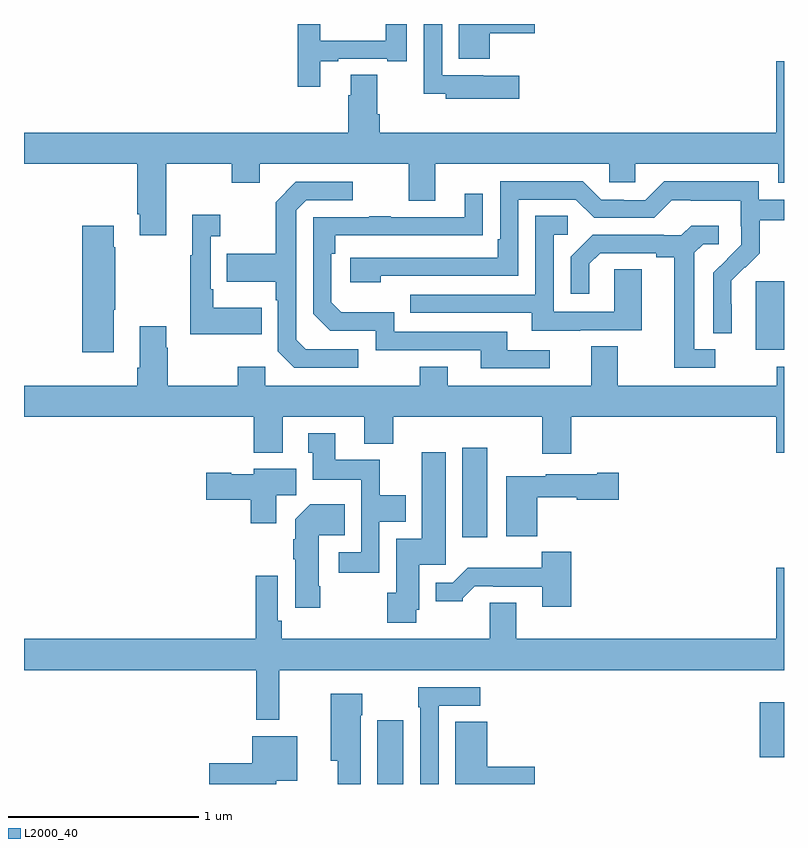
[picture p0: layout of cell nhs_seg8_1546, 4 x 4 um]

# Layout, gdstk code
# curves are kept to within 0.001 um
import gdstk
lib = gdstk.Library(unit=1e-6, precision=1e-09)
def R(c, l, rs):  # rectangles x0, y0, x1, y1
    for r in rs: c.add(gdstk.rectangle(r[:2], r[2:], *l))
def P(c, l, *ps):  # polygons
    for p in ps: c.add(gdstk.Polygon(p, *l))
L2000_40 = (2000, 40)

nhs_seg8_1546 = lib.new_cell('nhs_seg8_1546')
R(nhs_seg8_1546, L2000_40, [(210.86,1115.9,210.997,1116.235), (212.873,1116.041,213,1116.331), (211.307,1117.2,211.438,1117.669), (212.852,1118.186,213,1118.547)])
P(nhs_seg8_1546, L2000_40, [(210.559,1119.705),(210.655,1119.705),(210.655,1119.717),(210.911,1119.717),(210.911,1119.705),(211.015,1119.705),(211.015,1119.9),(210.905,1119.9),(210.905,1119.813),(210.558,1119.813),(210.558,1119.9),(210.442,1119.9),(210.442,1119.57),(210.559,1119.57)],
  [(211.451,1119.851),(211.687,1119.851),(211.687,1119.9),(211.289,1119.9),(211.289,1119.716),(211.451,1119.716)],
  [(211.606,1119.628),(211.416,1119.628),(211.416,1119.63),(211.2,1119.63),(211.2,1119.9),(211.104,1119.9),(211.104,1119.533),(211.221,1119.533),(211.221,1119.506),(211.606,1119.506)],
  [(209.749,1119.164),(210.094,1119.164),(210.094,1119.065),(210.241,1119.065),(210.241,1119.164),(211.025,1119.164),(211.025,1118.97),(211.165,1118.97),(211.165,1119.164),(212.079,1119.164),(212.079,1119.066),(212.217,1119.066),(212.217,1119.164),(212.969,1119.164),(212.969,1119.065),(213,1119.065),(213,1119.703),(212.96,1119.703),(212.96,1119.328),(210.872,1119.328),(210.872,1119.424),(210.859,1119.424),(210.859,1119.632),(210.719,1119.632),(210.719,1119.524),(210.707,1119.524),(210.707,1119.328),(209,1119.328),(209,1119.164),(209.597,1119.164),(209.597,1118.899),(209.609,1118.899),(209.609,1118.787),(209.749,1118.787)],
  [(212.724,1118.426),(212.723,1118.549),(212.793,1118.619),(212.796,1118.616),(212.873,1118.693),(212.873,1118.868),(213,1118.868),(213,1118.976),(212.868,1118.976),(212.868,1119.073),(212.371,1119.073),(212.271,1118.973),(212.156,1118.973),(212.156,1118.976),(212.037,1118.976),(211.941,1119.072),(211.506,1119.072),(211.506,1118.767),(211.493,1118.767),(211.493,1118.67),(210.717,1118.67),(210.717,1118.54),(210.878,1118.54),(210.878,1118.574),(211.602,1118.574),(211.602,1118.976),(211.905,1118.976),(212.001,1118.88),(212.316,1118.88),(212.409,1118.973),(212.509,1118.973),(212.509,1118.969),(212.772,1118.969),(212.772,1118.835),(212.774,1118.835),(212.774,1118.738),(212.628,1118.59),(212.628,1118.272),(212.724,1118.272)],
  [(210.76,1118.187),(210.483,1118.187),(210.432,1118.238),(210.432,1118.919),(210.486,1118.973),(210.73,1118.973),(210.73,1119.069),(210.429,1119.069),(210.324,1118.963),(210.324,1118.691),(210.067,1118.691),(210.067,1118.543),(210.324,1118.543),(210.324,1118.447),(210.336,1118.447),(210.336,1118.178),(210.423,1118.091),(210.76,1118.091)],
  [(211.768,1118.184),(211.543,1118.184),(211.543,1118.28),(210.948,1118.28),(210.948,1118.383),(210.671,1118.383),(210.618,1118.436),(210.618,1118.69),(210.638,1118.69),(210.638,1118.787),(211.415,1118.788),(211.415,1119.007),(211.319,1119.007),(211.319,1118.883),(210.929,1118.883),(210.929,1118.888),(210.817,1118.888),(210.817,1118.883),(210.522,1118.883),(210.522,1118.376),(210.612,1118.286),(210.852,1118.286),(210.852,1118.184),(211.403,1118.184),(211.403,1118.088),(211.768,1118.088)],
  [(210.251,1118.407),(209.995,1118.407),(209.995,1118.503),(209.982,1118.503),(209.982,1118.783),(210.034,1118.783),(210.034,1118.896),(209.885,1118.896),(209.885,1118.683),(209.874,1118.683),(209.874,1118.267),(210.251,1118.267)],
  [(211.927,1118.289),(212.251,1118.289),(212.251,1118.609),(212.106,1118.609),(212.106,1118.385),(211.788,1118.385),(211.788,1118.79),(211.861,1118.79),(211.861,1118.891),(211.692,1118.891),(211.692,1118.475),(211.033,1118.475),(211.033,1118.379),(211.673,1118.379),(211.673,1118.285),(211.927,1118.285)],
  [(212.638,1118.187),(212.527,1118.187),(212.527,1118.695),(212.574,1118.742),(212.656,1118.742),(212.656,1118.839),(212.512,1118.839),(212.46,1118.787),(212.366,1118.787),(212.366,1118.79),(211.994,1118.79),(211.878,1118.674),(211.878,1118.481),(211.975,1118.481),(211.975,1118.637),(212.032,1118.694),(212.327,1118.694),(212.327,1118.672),(212.423,1118.672),(212.423,1118.091),(212.638,1118.091)],
  [(209.473,1118.395),(209.481,1118.395),(209.481,1118.726),(209.473,1118.726),(209.473,1118.839),(209.306,1118.839),(209.306,1118.172),(209.473,1118.172)],
  [(211.88,1117.832),(212.96,1117.832),(212.96,1117.644),(213,1117.644),(213,1118.095),(212.962,1118.095),(212.962,1117.996),(212.125,1117.996),(212.125,1118.204),(211.985,1118.204),(211.985,1117.996),(211.231,1117.996),(211.231,1118.095),(211.084,1118.095),(211.084,1117.996),(210.27,1117.996),(210.27,1118.095),(210.124,1118.095),(210.124,1117.996),(209.757,1117.996),(209.757,1118.195),(209.749,1118.195),(209.749,1118.308),(209.609,1118.308),(209.609,1118.092),(209.597,1118.092),(209.597,1117.996),(209,1117.996),(209,1117.832),(210.209,1117.832),(210.209,1117.643),(210.361,1117.643),(210.361,1117.832),(210.791,1117.832),(210.791,1117.691),(210.944,1117.691),(210.944,1117.832),(211.727,1117.832),(211.727,1117.638),(211.88,1117.638)],
  [(210.87,1117.28),(211.009,1117.28),(211.009,1117.42),(210.873,1117.42),(210.873,1117.606),(210.637,1117.606),(210.637,1117.747),(210.497,1117.747),(210.497,1117.644),(210.521,1117.644),(210.521,1117.502),(210.774,1117.502),(210.774,1117.119),(210.657,1117.119),(210.657,1117.011),(210.87,1117.011)],
  [(211.065,1116.816),(211.081,1116.816),(211.081,1117.053),(211.219,1117.053),(211.219,1117.645),(211.094,1117.645),(211.094,1117.192),(210.959,1117.192),(210.959,1116.906),(210.913,1116.906),(210.913,1116.75),(211.065,1116.75)],
  [(210.328,1117.42),(210.433,1117.42),(210.433,1117.558),(210.21,1117.558),(210.21,1117.531),(210.09,1117.531),(210.09,1117.539),(209.958,1117.539),(209.958,1117.397),(210.194,1117.397),(210.194,1117.272),(210.328,1117.272)],
  [(211.7,1117.409),(211.908,1117.409),(211.908,1117.397),(212.131,1117.397),(212.131,1117.539),(212.018,1117.539),(212.018,1117.531),(211.746,1117.531),(211.746,1117.519),(211.538,1117.519),(211.538,1117.205),(211.7,1117.205)],
  [(210.558,1116.94),(210.55,1116.94),(210.55,1117.208),(210.689,1117.208),(210.689,1117.372),(210.506,1117.372),(210.428,1117.294),(210.428,1117.187),(210.416,1117.187),(210.416,1117.084),(210.428,1117.084),(210.428,1116.828),(210.558,1116.828)],
  [(211.88,1117.123),(211.725,1117.123),(211.725,1117.039),(211.336,1117.039),(211.257,1116.96),(211.166,1116.96),(211.166,1116.863),(211.308,1116.863),(211.308,1116.878),(211.372,1116.942),(211.471,1116.942),(211.471,1116.939),(211.727,1116.939),(211.727,1116.834),(211.88,1116.834)],
  [(210.344,1116.5),(213,1116.5),(213,1117.039),(212.96,1117.039),(212.96,1116.664),(211.591,1116.664),(211.591,1116.854),(211.451,1116.854),(211.451,1116.664),(210.356,1116.664),(210.356,1116.76),(210.336,1116.76),(210.336,1116.997),(210.22,1116.997),(210.22,1116.664),(209,1116.664),(209,1116.5),(210.223,1116.5),(210.223,1116.237),(210.344,1116.237)],
  [(211.182,1116.312),(211.402,1116.312),(211.402,1116.408),(211.074,1116.408),(211.074,1116.305),(211.086,1116.305),(211.086,1115.9),(211.182,1115.9)],
  [(210.772,1116.263),(210.78,1116.263),(210.78,1116.376),(210.614,1116.376),(210.614,1116.023),(210.65,1116.023),(210.65,1115.9),(210.772,1115.9)],
  [(211.687,1115.99),(211.438,1115.99),(211.438,1116.227),(211.271,1116.227),(211.271,1115.9),(211.687,1115.9)],
  [(210.328,1115.918),(210.439,1115.918),(210.439,1116.151),(210.2,1116.151),(210.2,1116.008),(209.976,1116.008),(209.976,1115.9),(210.328,1115.9)])

lib.write_gds('nhs_seg8_1546.gds')
